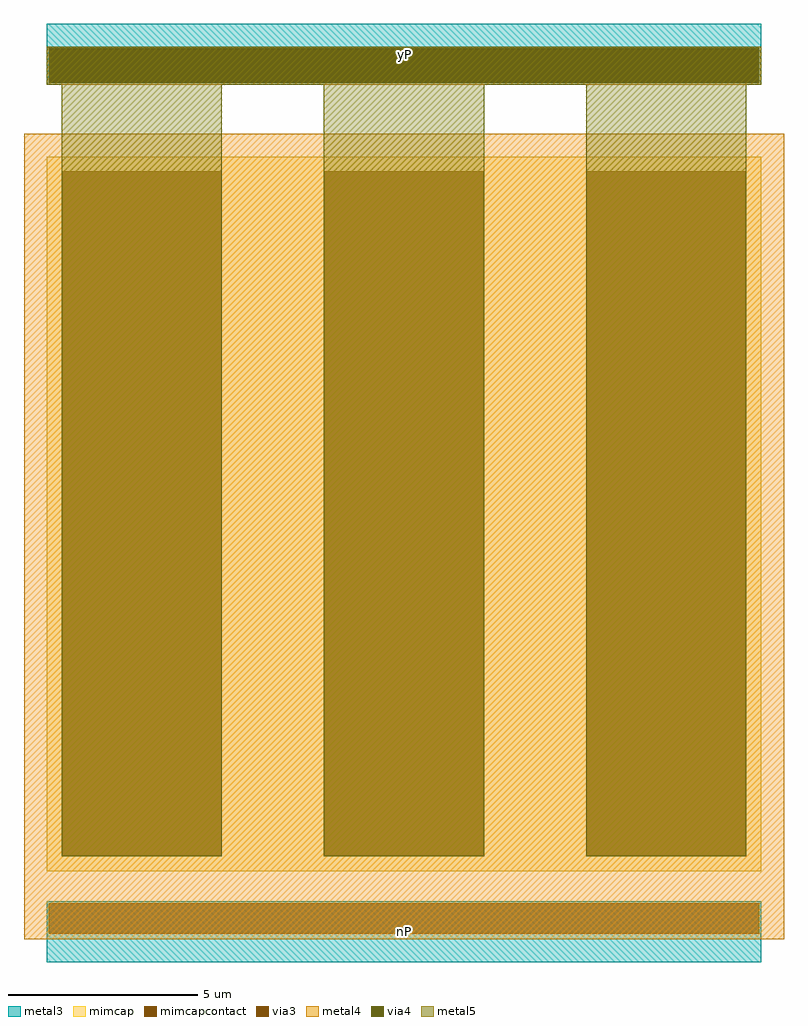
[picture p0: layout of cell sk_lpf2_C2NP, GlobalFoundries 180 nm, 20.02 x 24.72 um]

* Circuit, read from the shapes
.subckt sk_lpf2_C2NP yP nP
XC1 yP nP cap_mim_2f0fF c_width=18.82u c_length=18.82u
.ends

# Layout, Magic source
magic
tech gf180mcuD
magscale 1 10
<< metal3 >>
rect 0 -340 3764 -160
rect 0 4144 3764 4344
rect 0 4144 3764 4464
rect 0 4144 3764 4464
rect 0 -480 3764 -160
rect 0 -480 3764 -160
<< metal4 >>
rect -120 -360 3884 3884
rect 0 -340 3764 -160
rect 0 4144 3764 4344
rect 0 4144 3764 4344
<< mimcap >>
rect 0 0 3764 3764
<< metal5 >>
rect 78 78 922 4244
rect 1460 78 2304 4244
rect 2842 78 3686 4244
rect 0 4144 3764 4344
rect 0 4144 3764 4344
<< via3 >>
rect 10 -330 3754 -170
rect 10 4154 3754 4334
<< via4 >>
rect 10 4154 3754 4334
<< mimcapcontact >>
rect 78 78 922 3686
rect 1460 78 2304 3686
rect 2842 78 3686 3686
<< labels >>
flabel metal3 s 0 4144 3764 4464 0 FreeSans 80 0 0 0 yP
port 1 nsew signal bidirectional
flabel metal3 s 0 -480 3764 -160 0 FreeSans 80 0 0 0 nP
port 2 nsew signal bidirectional
<< end >>
